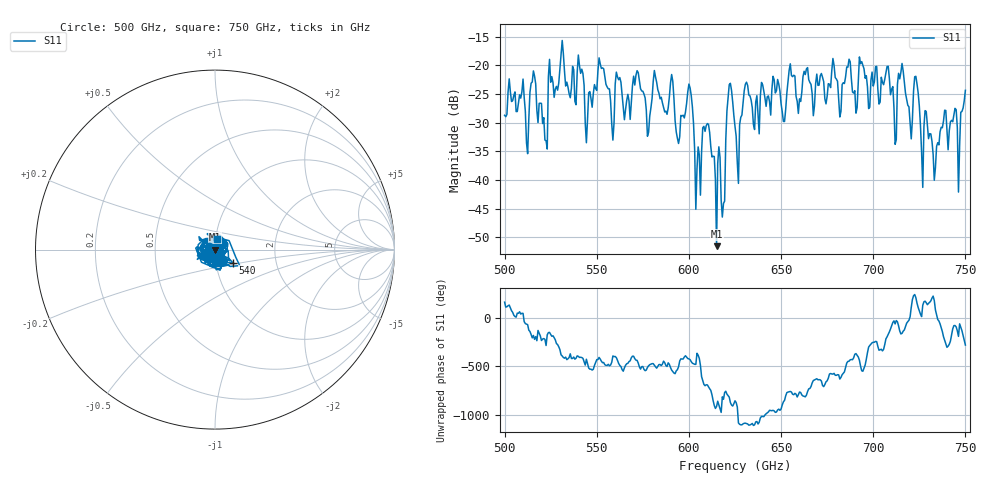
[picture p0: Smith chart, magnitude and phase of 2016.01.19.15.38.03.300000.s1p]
!Created with skrf (http://scikit-rf.org).
# GHz S RI R 50.0
!freq ReS11 ImS11
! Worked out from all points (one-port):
!   401 points, 500 GHz to 750 GHz, reference 50 ohm
!   lowest |S11| = -51.5 dB at 615 GHz (marker M1), VSWR 1.01, Z = 49.7 + j0.0474 ohm
!   |S11| at or under -10 dB: start of sweep to end of sweep
!   S11 on the Smith chart (normalised r, x): 500 GHz: 0.93, +0.02; 540 GHz: 1.21, -0.18; 750 GHz: 1.02, +0.12
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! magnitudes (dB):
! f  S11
! 500 GHz  -28.7
! 512.5 GHz  -35.4
! 515.6 GHz  -21.0
! 521.9 GHz  -33.0
! 525 GHz  -23.0
! 531.2 GHz  -15.7
! 540 GHz  -18.2
! 545 GHz  -29.4
! 551.9 GHz  -19.8
! 558.1 GHz  -30.2
! 562.5 GHz  -22.1
! 578.1 GHz  -31.7
! 590.6 GHz  -21.6
! 593.8 GHz  -32.7
! 600.6 GHz  -23.9
! 605 GHz  -34.2
! 609.4 GHz  -30.5
! 615 GHz  -51.5
! 618.8 GHz  -44.1
! 621.9 GHz  -23.4
! 625 GHz  -30.7
! 656.2 GHz  -22.0
! 687.5 GHz  -19.4
! 718.8 GHz  -27.0
! 723.1 GHz  -21.9
! 726.2 GHz  -35.2
! 733.8 GHz  -37.8
! 750 GHz  -24.4
